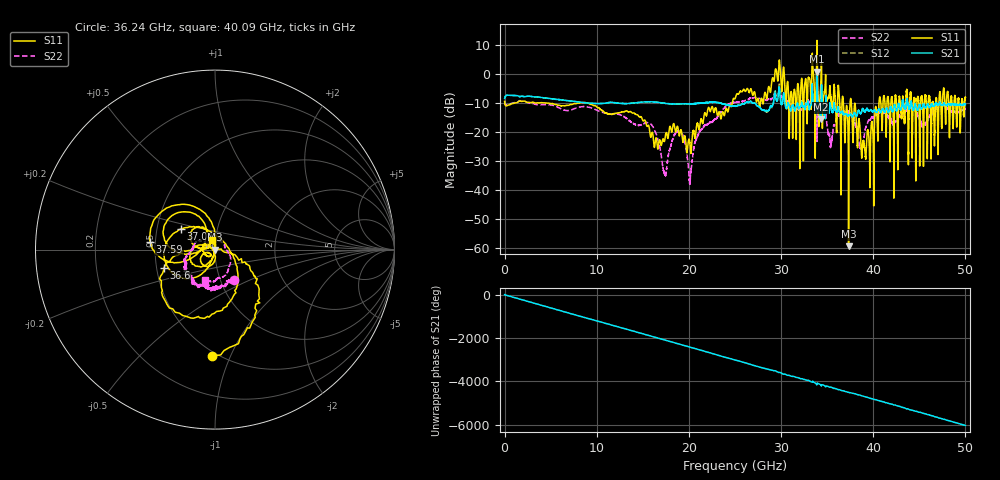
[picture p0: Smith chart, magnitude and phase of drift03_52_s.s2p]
!Created with skrf (http://scikit-rf.org).
# Hz S RI R 50.0
!freq ReS11 ImS11 ReS21 ImS21 ReS12 ImS12 ReS22 ImS22
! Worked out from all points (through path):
!   10001 points, 300 kHz to 50 GHz, reference 50 ohm
!   highest |S21| = 0.80 dB at 33.9 GHz (marker M1); lowest = -15.6 dB at 34.32 GHz (marker M2)
!   group delay of S21, straight-line fit = 335 ps
!   lowest |S11| = -59.4 dB at 37.33 GHz (marker M3), VSWR 1.00, Z = 49.9 - j0.0198 ohm
!   |S11| at or under -10 dB: 4.469 GHz to 8.18 GHz (3.711 GHz wide, 58.7 % of centre); 9.024 GHz to 24.7 GHz (15.67 GHz wide, 93 % of centre); 37.62 GHz to 40.62 GHz (3.002 GHz wide, 7.67 % of centre) (the widest 3 of 57)
!   |S22| runs from -38.0 to -5.9 dB; largest |S21 - S12| = 0.11
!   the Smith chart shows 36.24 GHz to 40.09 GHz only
!   S11 on the Smith chart (normalised r, x): 36.24 GHz: 0.47, -0.86; 36.6 GHz: 0.55, -0.12; 37.04 GHz: 0.67, +0.16; 37.59 GHz: 0.47, +0.05; 40.09 GHz: 0.96, +0.11
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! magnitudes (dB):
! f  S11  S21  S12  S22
! 300 kHz  -9.4  -8.5  -8.5  -9.4
! 8.335 GHz  -9.9  -9.8  -9.8  -11.3
! 16.67 GHz  -25.4  -9.8  -9.8  -23.2
! 17.39 GHz  -22.6  -10.1  -10.1  -34.6
! 19.08 GHz  -19.7  -10.3  -10.3  -20.1
! 20.12 GHz  -24.5  -10.2  -10.3  -36.5
! 21.22 GHz  -17.0  -10.1  -10.1  -19.6
! 25 GHz  -8.6  -11.1  -11.1  -9.8
! 31.08 GHz  -6.1  -12.7  -12.7  -10.5
! 33.34 GHz  0.4  -7.5  -7.5  -9.4
! 33.9 GHz  11.6  0.8  0.4  -23.3
! 34.32 GHz  -2.9  -15.6  -14.9  -11.2
! 35.35 GHz  -6.4  -10.6  -10.1  -24.5
! 36.24 GHz  -4.5  -11.8  -11.7  -14.1
! 36.6 GHz  -10.4  -13.1  -13.0  -13.5
! 37.04 GHz  -13.1  -13.8  -14.1  -13.6
! 37.33 GHz  -59.4  -14.3  -14.5  -13.8
! 37.59 GHz  -8.8  -13.9  -13.9  -13.8
! 38.71 GHz  -26.6  -13.4  -13.4  -25.4
! 40.09 GHz  -25.0  -12.6  -12.7  -15.0
! 41.67 GHz  -9.5  -13.3  -13.2  -14.9
! 50 GHz  -8.0  -10.5  -10.5  -12.1
